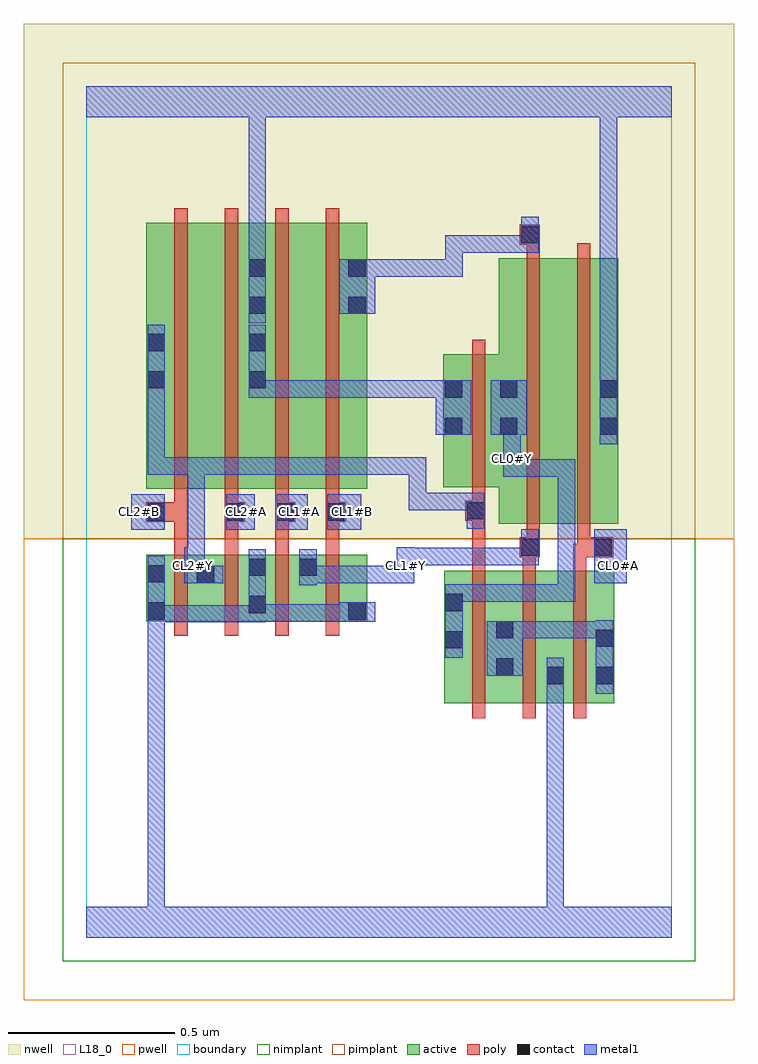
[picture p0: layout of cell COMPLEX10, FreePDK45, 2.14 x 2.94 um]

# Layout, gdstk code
import gdstk
lib = gdstk.Library(unit=1e-6, precision=1e-09)
def R(c, l, rs):  # rectangles x0, y0, x1, y1
    for r in rs: c.add(gdstk.rectangle(r[:2], r[2:], *l))
def A(c, l, x, y, w, h, nx, ny, dx, dy):  # array of equal rectangles
    R(c, l, [(x+i*dx, y+j*dy, x+i*dx+w, y+j*dy+h) for i in range(nx) for j in range(ny)])
active = (1, 0)
pwell = (2, 0)
nwell = (3, 0)
nimplant = (4, 0)
pimplant = (5, 0)
poly = (9, 0)
contact = (10, 0)
metal1 = (11, 0)
L18_0 = (18, 0)
boundary = (235, 0)

complex10 = lib.new_cell('COMPLEX10')
R(complex10, active, [(1.076,0.704,1.136,1.104), (1.076,0.704,1.288,1.104), (1.228,0.704,1.288,1.104), (1.228,0.704,1.44,1.104), (1.38,0.704,1.588,1.104), (1.38,0.704,1.44,0.828), (1.528,0.704,1.588,1.104), (0.18,0.952,0.24,1.152), (0.18,0.952,0.388,1.152), (0.328,0.952,0.388,1.152), (0.328,0.952,0.544,1.152), (0.484,0.952,0.544,1.152), (0.484,0.952,0.696,1.152), (0.636,0.952,0.844,1.152), (0.784,0.952,0.844,1.152), (0.636,0.956,0.696,1.152), (1.24,1.244,1.42,2.044), (1.42,1.244,1.6,2.044), (1.54,1.244,1.6,2.044), (0.18,1.35,0.36,2.15), (0.18,1.35,0.24,2.044), (0.36,1.35,0.544,2.15), (0.484,1.35,0.664,2.15), (0.484,1.35,0.544,2.044), (0.664,1.35,0.844,2.15), (0.784,1.35,0.844,2.044), (1.074,1.354,1.134,1.754), (1.074,1.354,1.3,1.754), (1.24,1.354,1.3,2.044)])
R(complex10, pwell, [(-0.188,-0.188,1.948,1.2)])
R(complex10, nwell, [(-0.188,1.2,1.948,2.748)])
R(complex10, nimplant, [(-0.072,-0.072,1.832,1.2)])
R(complex10, pimplant, [(-0.072,1.2,1.832,2.632)])
A(complex10, poly, 1.16, 0.66, 0.04, 0.488, 3, 1, 0.152, 0)
A(complex10, poly, 0.264, 0.908, 0.04, 0.288, 4, 1, 0.152, 0)
A(complex10, poly, 0.264, 1.156, 0.04, 0.134, 4, 1, 0.152, 0)
A(complex10, poly, 0.416, 1.25, 0.06, 0.06, 3, 1, 0.152, 0)
A(complex10, poly, 0.264, 1.27, 0.04, 0.076, 4, 1, 0.152, 0)
A(complex10, poly, 0.264, 1.306, 0.04, 0.888, 4, 1, 0.152, 0)
R(complex10, poly, [(1.16,1.108,1.2,1.294), (1.312,1.108,1.352,1.184), (1.464,1.108,1.504,1.184), (1.304,1.144,1.364,1.204), (1.464,1.144,1.516,1.184), (1.476,1.144,1.516,1.184), (1.476,1.144,1.584,1.204), (1.324,1.164,1.364,1.24), (1.324,1.164,1.364,1.204), (1.324,1.164,1.364,1.204), (1.476,1.164,1.516,1.24), (1.324,1.2,1.364,2.088), (1.476,1.2,1.516,2.088), (0.18,1.25,0.304,1.31), (1.14,1.254,1.2,1.314), (1.16,1.254,1.2,1.294), (1.16,1.254,1.2,1.294), (0.264,1.27,0.304,1.31), (0.264,1.27,0.304,1.31), (0.416,1.27,0.456,1.31), (0.416,1.27,0.456,1.31), (0.568,1.27,0.608,1.31), (0.568,1.27,0.608,1.31), (0.72,1.27,0.76,1.31), (0.72,1.27,0.76,1.31), (1.16,1.274,1.2,1.35), (1.16,1.31,1.2,1.798), (1.324,2.048,1.364,2.124), (1.304,2.084,1.364,2.144)])
A(complex10, contact, 0.42, 1.254, 0.052, 0.052, 3, 1, 0.152, 0)
A(complex10, contact, 0.488, 1.652, 0.052, 0.052, 1, 4, 0, 0.112)
R(complex10, contact, [(1.384,0.762,1.436,0.814), (1.532,0.762,1.584,0.814), (1.232,0.788,1.284,0.84), (1.08,0.87,1.132,0.922), (1.532,0.874,1.584,0.926), (1.232,0.9,1.284,0.952), (0.184,0.956,0.236,1.008), (0.788,0.956,0.84,1.008), (0.488,0.976,0.54,1.028), (1.08,0.982,1.132,1.034), (0.332,1.066,0.384,1.118), (0.184,1.068,0.236,1.12), (0.488,1.088,0.54,1.14), (0.64,1.088,0.692,1.14), (1.308,1.148,1.36,1.2), (1.528,1.148,1.58,1.2), (0.184,1.254,0.236,1.306), (1.144,1.258,1.196,1.31), (1.078,1.512,1.13,1.564), (1.244,1.512,1.296,1.564), (1.544,1.512,1.596,1.564), (1.078,1.624,1.13,1.676), (1.244,1.624,1.296,1.676), (1.544,1.624,1.596,1.676), (0.184,1.652,0.236,1.704), (0.184,1.764,0.236,1.816), (0.788,1.876,0.84,1.928), (0.788,1.988,0.84,2.04), (1.308,2.088,1.36,2.14)])
R(complex10, metal1, [(0,0,1.76,0.092), (0.184,0.04,0.236,0.092), (0.184,0.04,0.236,0.092), (0.184,0.04,0.236,0.092), (0.184,0.04,0.236,0.092), (0.184,0.04,0.236,0.202), (1.384,0.04,1.436,0.092), (1.384,0.04,1.436,0.092), (1.384,0.04,1.436,0.092), (1.384,0.04,1.436,0.092), (1.384,0.04,1.436,0.092), (1.384,0.04,1.436,0.092), (1.384,0.04,1.436,0.092), (1.384,0.04,1.436,0.092), (1.384,0.04,1.436,0.092), (1.384,0.04,1.436,0.092), (1.384,0.04,1.436,0.092), (1.384,0.04,1.436,0.092), (1.384,0.04,1.436,0.786), (0.184,0.15,0.236,0.202), (0.184,0.15,0.236,0.202), (0.184,0.15,0.236,0.202), (0.184,0.15,0.236,0.202), (0.184,0.15,0.236,0.202), (0.184,0.15,0.236,0.202), (0.184,0.15,0.236,0.202), (0.184,0.15,0.236,0.202), (0.184,0.15,0.236,0.202), (0.184,0.15,0.236,0.202), (0.184,0.15,0.236,0.202), (0.184,0.15,0.236,0.98), (1.384,0.734,1.436,0.842), (1.532,0.734,1.584,0.954), (1.204,0.788,1.312,0.952), (1.08,0.842,1.132,1.062), (1.26,0.9,1.422,0.952), (1.37,0.9,1.422,0.952), (1.37,0.9,1.422,0.952), (1.37,0.9,1.422,0.952), (1.37,0.9,1.584,0.952), (1.532,0.9,1.584,0.952), (1.532,0.9,1.584,0.952), (0.184,0.928,0.236,1.148), (0.184,0.948,0.236,1), (0.184,0.948,0.236,1), (0.184,0.948,0.346,1), (0.294,0.948,0.346,1), (0.294,0.948,0.346,1), (0.294,0.948,0.346,1), (0.294,0.948,0.54,1), (0.488,0.948,0.54,1.168), (0.488,0.95,0.54,1.002), (0.488,0.95,0.54,1.002), (0.488,0.95,0.65,1.002), (0.598,0.95,0.65,1.002), (0.598,0.95,0.812,1.002), (0.76,0.95,0.812,1.002), (0.76,0.95,0.812,1.002), (0.76,0.95,0.868,1.008), (1.08,1.01,1.132,1.062), (1.08,1.01,1.132,1.062), (1.08,1.01,1.312,1.062), (1.26,1.01,1.312,1.062), (1.26,1.01,1.47,1.062), (1.418,1.01,1.47,1.062), (1.418,1.01,1.47,1.062), (1.418,1.01,1.47,1.062), (1.418,1.01,1.47,1.438), (0.64,1.06,0.692,1.168), (0.294,1.066,0.356,1.174), (0.304,1.066,0.356,1.118), (0.304,1.066,0.412,1.118), (0.64,1.066,0.692,1.118), (0.64,1.066,0.692,1.118), (0.64,1.066,0.986,1.118), (0.934,1.066,0.986,1.118), (0.934,1.066,0.986,1.118), (0.934,1.066,0.986,1.174), (1.528,1.066,1.626,1.228), (0.934,1.12,0.986,1.172), (0.934,1.12,0.986,1.172), (0.934,1.12,1.242,1.172), (1.19,1.12,1.242,1.172), (1.19,1.12,1.242,1.172), (1.19,1.12,1.242,1.172), (1.19,1.12,1.36,1.172), (1.308,1.12,1.36,1.228), (0.304,1.122,0.356,1.444), (0.134,1.226,0.236,1.334), (0.42,1.226,0.506,1.334), (0.572,1.226,0.666,1.334), (0.724,1.226,0.826,1.334), (1.144,1.23,1.196,1.338), (0.97,1.286,1.022,1.338), (0.97,1.286,1.022,1.338), (0.97,1.286,1.196,1.338), (0.97,1.286,1.022,1.444), (1.254,1.386,1.306,1.494), (1.254,1.386,1.47,1.438), (1.418,1.386,1.47,1.438), (1.418,1.386,1.47,1.438), (1.418,1.386,1.47,1.438), (1.418,1.386,1.47,1.438), (1.418,1.386,1.47,1.438), (0.184,1.392,0.236,1.444), (0.184,1.392,0.236,1.444), (0.184,1.392,0.236,1.444), (0.184,1.392,0.356,1.444), (0.184,1.392,0.236,1.676), (0.304,1.392,0.356,1.444), (0.304,1.392,0.356,1.444), (0.304,1.392,0.356,1.444), (0.304,1.392,0.54,1.444), (0.488,1.392,0.54,1.444), (0.488,1.392,0.54,1.444), (0.488,1.392,0.54,1.444), (0.488,1.392,0.65,1.444), (0.598,1.392,0.65,1.444), (0.598,1.392,0.65,1.444), (0.598,1.392,0.65,1.444), (0.598,1.392,1.022,1.444), (1.254,1.442,1.306,1.564), (1.544,1.484,1.596,1.704), (1.05,1.512,1.158,1.676), (1.216,1.512,1.324,1.676), (0.184,1.624,0.236,1.844), (0.488,1.624,0.54,1.676), (0.488,1.624,0.54,1.676), (0.488,1.624,0.54,1.844), (0.488,1.624,0.692,1.676), (0.64,1.624,0.692,1.676), (0.64,1.624,0.802,1.676), (0.75,1.624,0.802,1.676), (0.75,1.624,0.802,1.676), (0.75,1.624,0.802,1.676), (0.75,1.624,1.102,1.676), (1.544,1.652,1.596,2.52), (1.544,1.652,1.596,1.704), (1.544,1.652,1.596,1.704), (1.544,1.652,1.596,1.704), (1.544,1.652,1.596,1.704), (1.544,1.652,1.596,1.704), (1.544,1.652,1.596,1.704), (0.488,1.848,0.54,2.068), (0.76,1.876,0.868,2.04), (0.816,1.988,1.132,2.04), (1.08,1.988,1.132,2.04), (1.08,1.988,1.132,2.112), (0.488,2.016,0.54,2.068), (0.488,2.016,0.54,2.068), (0.488,2.016,0.54,2.068), (0.488,2.016,0.54,2.068), (0.488,2.016,0.54,2.52), (1.08,2.06,1.132,2.112), (1.08,2.06,1.25,2.112), (1.198,2.06,1.25,2.112), (1.198,2.06,1.25,2.112), (1.198,2.06,1.25,2.112), (1.198,2.06,1.36,2.112), (1.308,2.06,1.36,2.168), (0,2.468,1.76,2.56), (0.488,2.468,0.54,2.52), (0.488,2.468,0.54,2.52), (0.488,2.468,0.54,2.52), (0.488,2.468,0.54,2.52), (1.544,2.468,1.596,2.52), (1.544,2.468,1.596,2.52)])
A(complex10, L18_0, 0.294, 1.094, 0.052, 0.052, 3, 1, 0.64, 0)
A(complex10, L18_0, 0.454, 1.254, 0.052, 0.052, 3, 1, 0.16, 0)
R(complex10, L18_0, [(0,0,1.76,0.092), (0.184,0.04,0.236,0.092), (0.184,0.04,0.236,0.092), (0.184,0.04,0.236,0.092), (0.184,0.04,0.236,0.092), (0.184,0.04,0.236,0.202), (1.384,0.04,1.436,0.092), (1.384,0.04,1.436,0.092), (1.384,0.04,1.436,0.092), (1.384,0.04,1.436,0.092), (1.384,0.04,1.436,0.092), (1.384,0.04,1.436,0.092), (1.384,0.04,1.436,0.092), (1.384,0.04,1.436,0.092), (1.384,0.04,1.436,0.092), (1.384,0.04,1.436,0.092), (1.384,0.04,1.436,0.092), (1.384,0.04,1.436,0.092), (1.384,0.04,1.436,0.786), (0.184,0.15,0.236,0.202), (0.184,0.15,0.236,0.202), (0.184,0.15,0.236,0.202), (0.184,0.15,0.236,0.202), (0.184,0.15,0.236,0.202), (0.184,0.15,0.236,0.202), (0.184,0.15,0.236,0.202), (0.184,0.15,0.236,0.202), (0.184,0.15,0.236,0.202), (0.184,0.15,0.236,0.202), (0.184,0.15,0.236,0.202), (0.184,0.15,0.236,0.98), (1.384,0.734,1.436,0.842), (1.08,0.842,1.132,1.062), (0.184,0.928,0.236,1.148), (0.184,0.948,0.236,1), (0.184,0.948,0.236,1), (0.184,0.948,0.346,1), (0.294,0.948,0.346,1), (0.294,0.948,0.346,1), (0.294,0.948,0.346,1), (0.294,0.948,0.54,1), (0.488,0.948,0.54,1.168), (0.488,0.95,0.54,1.002), (0.488,0.95,0.54,1.002), (0.488,0.95,0.65,1.002), (0.598,0.95,0.65,1.002), (0.598,0.95,0.812,1.002), (0.76,0.95,0.812,1.002), (0.76,0.95,0.812,1.002), (0.76,0.95,0.868,1.008), (1.08,1.01,1.132,1.062), (1.08,1.01,1.132,1.062), (1.08,1.01,1.312,1.062), (1.26,1.01,1.312,1.062), (1.26,1.01,1.47,1.062), (1.418,1.01,1.47,1.062), (1.418,1.01,1.47,1.062), (1.418,1.01,1.47,1.062), (1.418,1.01,1.47,1.438), (0.64,1.06,0.692,1.168), (0.294,1.066,0.356,1.174), (0.304,1.066,0.356,1.118), (0.304,1.066,0.412,1.118), (0.64,1.066,0.692,1.118), (0.64,1.066,0.692,1.118), (0.64,1.066,0.986,1.118), (0.934,1.066,0.986,1.118), (0.934,1.066,0.986,1.118), (0.934,1.066,0.986,1.174), (1.528,1.066,1.626,1.228), (0.934,1.12,0.986,1.172), (0.934,1.12,0.986,1.172), (0.934,1.12,1.242,1.172), (1.19,1.12,1.242,1.172), (1.19,1.12,1.242,1.172), (1.19,1.12,1.242,1.172), (1.19,1.12,1.36,1.172), (1.308,1.12,1.36,1.228), (0.304,1.122,0.356,1.444), (0.134,1.226,0.236,1.334), (0.42,1.226,0.506,1.334), (0.572,1.226,0.666,1.334), (0.724,1.226,0.826,1.334), (1.144,1.23,1.196,1.338), (0.134,1.254,0.186,1.306), (0.97,1.286,1.022,1.338), (0.97,1.286,1.022,1.338), (0.97,1.286,1.022,1.444), (0.97,1.286,1.196,1.338), (1.254,1.386,1.306,1.494), (1.254,1.386,1.47,1.438), (1.418,1.386,1.47,1.438), (1.418,1.386,1.47,1.438), (1.418,1.386,1.47,1.438), (1.418,1.386,1.47,1.438), (1.418,1.386,1.47,1.438), (0.184,1.392,0.236,1.444), (0.184,1.392,0.236,1.444), (0.184,1.392,0.236,1.444), (0.184,1.392,0.236,1.676), (0.184,1.392,0.356,1.444), (0.304,1.392,0.356,1.444), (0.304,1.392,0.356,1.444), (0.304,1.392,0.356,1.444), (0.304,1.392,0.54,1.444), (0.488,1.392,0.54,1.444), (0.488,1.392,0.54,1.444), (0.488,1.392,0.54,1.444), (0.488,1.392,0.65,1.444), (0.598,1.392,0.65,1.444), (0.598,1.392,0.65,1.444), (0.598,1.392,0.65,1.444), (0.598,1.392,1.022,1.444), (1.254,1.414,1.306,1.466), (1.254,1.442,1.306,1.564), (1.544,1.484,1.596,1.704), (1.05,1.512,1.158,1.676), (1.216,1.512,1.324,1.676), (0.184,1.624,0.236,1.844), (0.488,1.624,0.54,1.676), (0.488,1.624,0.54,1.676), (0.488,1.624,0.54,1.844), (0.488,1.624,0.692,1.676), (0.64,1.624,0.692,1.676), (0.64,1.624,0.802,1.676), (0.75,1.624,0.802,1.676), (0.75,1.624,0.802,1.676), (0.75,1.624,0.802,1.676), (0.75,1.624,1.102,1.676), (1.544,1.652,1.596,1.704), (1.544,1.652,1.596,1.704), (1.544,1.652,1.596,1.704), (1.544,1.652,1.596,1.704), (1.544,1.652,1.596,1.704), (1.544,1.652,1.596,1.704), (1.544,1.652,1.596,2.52), (0.488,1.848,0.54,2.068), (0.76,1.876,0.868,2.04), (0.816,1.988,1.132,2.04), (1.08,1.988,1.132,2.04), (1.08,1.988,1.132,2.112), (0.488,2.016,0.54,2.068), (0.488,2.016,0.54,2.068), (0.488,2.016,0.54,2.068), (0.488,2.016,0.54,2.068), (0.488,2.016,0.54,2.52), (1.08,2.06,1.132,2.112), (1.08,2.06,1.25,2.112), (1.198,2.06,1.25,2.112), (1.198,2.06,1.25,2.112), (1.198,2.06,1.25,2.112), (1.198,2.06,1.36,2.112), (1.308,2.06,1.36,2.168), (0,2.468,1.76,2.56), (0.488,2.468,0.54,2.52), (0.488,2.468,0.54,2.52), (0.488,2.468,0.54,2.52), (0.488,2.468,0.54,2.52), (1.544,2.468,1.596,2.52), (1.544,2.468,1.596,2.52)])
R(complex10, boundary, [(0,0,1.76,2.56)])
complex10.add(gdstk.Label('CL0#A', (1.6,1.12), layer=11, texttype=0))
complex10.add(gdstk.Label('CL0#Y', (1.28,1.44), layer=11, texttype=0))
complex10.add(gdstk.Label('CL1#A', (0.64,1.28), layer=11, texttype=0))
complex10.add(gdstk.Label('CL1#B', (0.8,1.28), layer=11, texttype=0))
complex10.add(gdstk.Label('CL1#Y', (0.96,1.12), layer=11, texttype=0))
complex10.add(gdstk.Label('CL2#A', (0.48,1.28), layer=11, texttype=0))
complex10.add(gdstk.Label('CL2#B', (0.16,1.28), layer=11, texttype=0))
complex10.add(gdstk.Label('CL2#Y', (0.32,1.12), layer=11, texttype=0))

lib.write_gds('COMPLEX10.gds')
